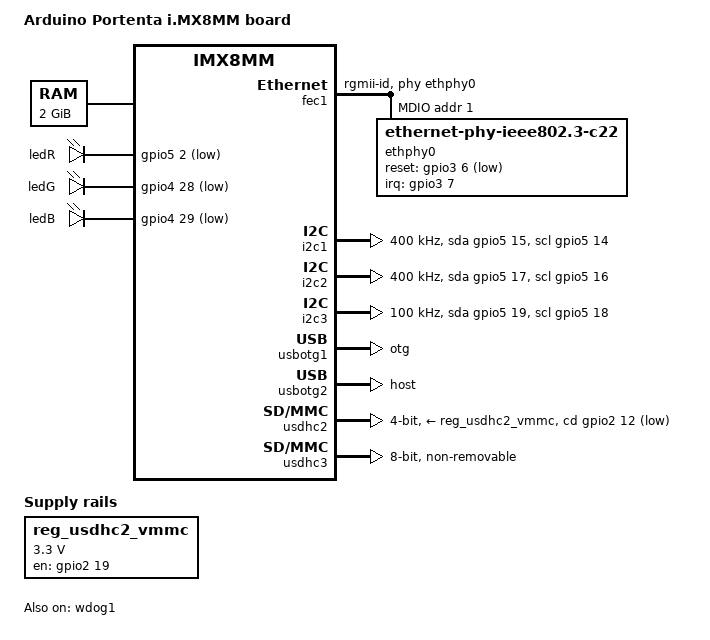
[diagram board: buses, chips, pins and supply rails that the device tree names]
/**
 * Copyright 2020
 *
 * This program is free software; you can redistribute it and/or
 * modify it under the terms of the GNU General Public License
 * as published by the Free Software Foundation; either version 2
 * of the License, or (at your option) any later version.
 *
 * This program is distributed in the hope that it will be useful,
 * but WITHOUT ANY WARRANTY; without even the implied warranty of
 * MERCHANTABILITY or FITNESS FOR A PARTICULAR PURPOSE.  See the
 * GNU General Public License for more details.
 */

/dts-v1/;

#include "imx8mm.dtsi"

/ {
	model = "Arduino Portenta i.MX8MM board";
	compatible = "fsl,imx8mm-evk", "fsl,imx8mm";

	memory@40000000 {
		device_type = "memory";
		reg = <0x0 0x40000000 0 0x80000000>;
	};

	leds {
		compatible = "gpio-leds";
		pinctrl-names = "default";
		pinctrl-0 = <&pinctrl_gpio_led>;

		ledR {
			label = "ledR";
			gpios = <&gpio5 2 GPIO_ACTIVE_LOW>;
			default-state = "off";
		};

		ledG {
			label = "ledG";
			gpios = <&gpio4 28 GPIO_ACTIVE_LOW>;
			default-state = "off";
		};

		ledB {
			label = "ledB";
			gpios = <&gpio4 29 GPIO_ACTIVE_LOW>;
			linux,default-trigger = "heartbeat";
			default-state = "off";
		};
	};

	reg_usdhc2_vmmc: regulator-usdhc2 {
		compatible = "regulator-fixed";
		pinctrl-names = "default";
		pinctrl-0 = <&pinctrl_reg_usdhc2_vmmc>;
		regulator-name = "VSD_3V3";
		regulator-min-microvolt = <3300000>;
		regulator-max-microvolt = <3300000>;
		gpio = <&gpio2 19 GPIO_ACTIVE_HIGH>;
		off-on-delay-us = <20000>;
		enable-active-high;
	};
};

&A53_0 {
	cpu-supply = <&buck2_reg>;
};

&A53_1 {
	cpu-supply = <&buck2_reg>;
};

&A53_2 {
	cpu-supply = <&buck2_reg>;
};

&A53_3 {
	cpu-supply = <&buck2_reg>;
};

&ddrc {
	operating-points-v2 = <&ddrc_opp_table>;

	ddrc_opp_table: opp-table {
		compatible = "operating-points-v2";

		opp-25M {
			opp-hz = /bits/ 64 <25000000>;
		};

		opp-100M {
			opp-hz = /bits/ 64 <100000000>;
		};

		opp-750M {
			opp-hz = /bits/ 64 <750000000>;
		};
	};
};

&fec1 {
	pinctrl-names = "default";
	pinctrl-0 = <&pinctrl_fec1>;
	phy-mode = "rgmii-id";
	phy-handle = <&ethphy0>;
	fsl,magic-packet;
	status = "okay";

	mdio {
		#address-cells = <1>;
		#size-cells = <0>;

		ethphy0: ethernet-phy@0 {
			compatible = "ethernet-phy-ieee802.3-c22";
			reg = <1>;
			interrupt-parent = <&gpio3>;
			interrupts = <7 0>;
			reset-gpios = <&gpio3 6 GPIO_ACTIVE_LOW>;
			reset-assert-us = <100000>;
		};
	};
};

&i2c1 {
	clock-frequency = <400000>;
	pinctrl-names = "default", "gpio";
	pinctrl-0 = <&pinctrl_i2c1>;
	pinctrl-1 = <&pinctrl_i2c1_gpio>;
	scl-gpios = <&gpio5 14 GPIO_ACTIVE_HIGH>;
	sda-gpios = <&gpio5 15 GPIO_ACTIVE_HIGH>;
	status = "okay";
};

&i2c2 {
	clock-frequency = <400000>;
	pinctrl-names = "default", "gpio";
	pinctrl-0 = <&pinctrl_i2c2>;
	pinctrl-1 = <&pinctrl_i2c2_gpio>;
	scl-gpios = <&gpio5 16 GPIO_ACTIVE_HIGH>;
	sda-gpios = <&gpio5 17 GPIO_ACTIVE_HIGH>;
	status = "okay";
};

&i2c3 {
	clock-frequency = <100000>;
	pinctrl-names = "default", "gpio";
	pinctrl-0 = <&pinctrl_i2c3>;
	pinctrl-1 = <&pinctrl_i2c3_gpio>;
	scl-gpios = <&gpio5 18 GPIO_ACTIVE_HIGH>;
	sda-gpios = <&gpio5 19 GPIO_ACTIVE_HIGH>;
	status = "okay";
};

&usbotg1 {
	dr_mode = "otg";
	hnp-disable;
	srp-disable;
	adp-disable;
	usb-role-switch;
	disable-over-current;
	samsung,picophy-pre-emp-curr-control = <3>;
	samsung,picophy-dc-vol-level-adjust = <7>;
	status = "okay";
};

&usbotg2 {
	dr_mode = "host";
	disable-over-current;
	samsung,picophy-pre-emp-curr-control = <3>;
	samsung,picophy-dc-vol-level-adjust = <7>;
	status = "okay";
};

&usdhc2 {
	assigned-clocks = <&clk IMX8MM_CLK_USDHC2>;
	assigned-clock-rates = <200000000>;
	pinctrl-names = "default", "state_100mhz", "state_200mhz";
	pinctrl-0 = <&pinctrl_usdhc2>, <&pinctrl_usdhc2_gpio>;
	pinctrl-1 = <&pinctrl_usdhc2_100mhz>, <&pinctrl_usdhc2_gpio>;
	pinctrl-2 = <&pinctrl_usdhc2_200mhz>, <&pinctrl_usdhc2_gpio>;
	cd-gpios = <&gpio2 12 GPIO_ACTIVE_LOW>;
	bus-width = <4>;
	vmmc-supply = <&reg_usdhc2_vmmc>;
	status = "okay";
};

&usdhc3 {
	assigned-clocks = <&clk IMX8MM_CLK_USDHC3_ROOT>;
	/* TODO: lowered speed here from 400000000 */
	assigned-clock-rates = <200000000>;
	pinctrl-names = "default", "state_100mhz", "state_200mhz";
	pinctrl-0 = <&pinctrl_usdhc3>;
	pinctrl-1 = <&pinctrl_usdhc3_100mhz>;
	pinctrl-2 = <&pinctrl_usdhc3_200mhz>;
	bus-width = <8>;
	non-removable;
	status = "okay";
};

&wdog1 {
	pinctrl-names = "default";
	pinctrl-0 = <&pinctrl_wdog>;
	fsl,ext-reset-output;
	status = "okay";
};

&iomuxc {
	pinctrl-names = "default";
	pinctrl-0 = <&pinctrl_hog_1>;

	pinctrl_fec1: fec1grp {
		fsl,pins = <
			MX8MM_IOMUXC_ENET_MDC_ENET1_MDC			0x3
			MX8MM_IOMUXC_ENET_MDIO_ENET1_MDIO		0x3
			MX8MM_IOMUXC_ENET_TD3_ENET1_RGMII_TD3		0x1f
			MX8MM_IOMUXC_ENET_TD2_ENET1_RGMII_TD2		0x1f
			MX8MM_IOMUXC_ENET_TD1_ENET1_RGMII_TD1		0x1f
			MX8MM_IOMUXC_ENET_TD0_ENET1_RGMII_TD0		0x1f
			MX8MM_IOMUXC_ENET_RD3_ENET1_RGMII_RD3		0x91
			MX8MM_IOMUXC_ENET_RD2_ENET1_RGMII_RD2		0x91
			MX8MM_IOMUXC_ENET_RD1_ENET1_RGMII_RD1		0x91
			MX8MM_IOMUXC_ENET_RD0_ENET1_RGMII_RD0		0x91
			MX8MM_IOMUXC_ENET_TXC_ENET1_RGMII_TXC		0x1f
			MX8MM_IOMUXC_ENET_RXC_ENET1_RGMII_RXC		0x91
			MX8MM_IOMUXC_ENET_RX_CTL_ENET1_RGMII_RX_CTL	0x91
			MX8MM_IOMUXC_ENET_TX_CTL_ENET1_RGMII_TX_CTL	0x1f
			MX8MM_IOMUXC_NAND_DATA00_GPIO3_IO6		0x16
			MX8MM_IOMUXC_NAND_DATA01_GPIO3_IO7		0x41
		>;
	};

	pinctrl_i2c1: i2c1grp {
		fsl,pins = <
			MX8MM_IOMUXC_I2C1_SCL_I2C1_SCL			0x400001c3
			MX8MM_IOMUXC_I2C1_SDA_I2C1_SDA			0x400001c3
		>;
		};

	pinctrl_i2c2: i2c2grp {
		fsl,pins = <
			MX8MM_IOMUXC_I2C2_SCL_I2C2_SCL			0x400001c3
			MX8MM_IOMUXC_I2C2_SDA_I2C2_SDA			0x400001c3
		>;
	};

	pinctrl_i2c3: i2c3grp {
		fsl,pins = <
			MX8MM_IOMUXC_I2C3_SCL_I2C3_SCL			0x400001c3
			MX8MM_IOMUXC_I2C3_SDA_I2C3_SDA			0x400001c3
		>;
	};

	pinctrl_i2c1_gpio: i2c1grp-gpio {
		fsl,pins = <
			MX8MM_IOMUXC_I2C1_SCL_GPIO5_IO14		0x1c3
			MX8MM_IOMUXC_I2C1_SDA_GPIO5_IO15		0x1c3
		>;
	};

	pinctrl_i2c2_gpio: i2c2grp-gpio {
		fsl,pins = <
			MX8MM_IOMUXC_I2C2_SCL_GPIO5_IO16		0x1c3
			MX8MM_IOMUXC_I2C2_SDA_GPIO5_IO17		0x1c3
		>;
	};

	pinctrl_i2c3_gpio: i2c3grp-gpio {
		fsl,pins = <
			MX8MM_IOMUXC_I2C3_SCL_GPIO5_IO18		0x1c3
			MX8MM_IOMUXC_I2C3_SDA_GPIO5_IO19		0x1c3
		>;
	};

	pinctrl_reg_usdhc2_vmmc: regusdhc2vmmc {
		fsl,pins = <
			MX8MM_IOMUXC_SD2_RESET_B_GPIO2_IO19		0x41
		>;
	};

	pinctrl_usdhc2_gpio: usdhc2grpgpio {
		fsl,pins = <
			MX8MM_IOMUXC_SD2_CD_B_GPIO2_IO12		0x1c4
		>;
	};

	pinctrl_usdhc2: usdhc2grp {
		fsl,pins = <
			MX8MM_IOMUXC_SD2_CLK_USDHC2_CLK			0x190
			MX8MM_IOMUXC_SD2_CMD_USDHC2_CMD			0x1d0
			MX8MM_IOMUXC_SD2_DATA0_USDHC2_DATA0		0x1d0
			MX8MM_IOMUXC_SD2_DATA1_USDHC2_DATA1		0x1d0
			MX8MM_IOMUXC_SD2_DATA2_USDHC2_DATA2		0x1d0
			MX8MM_IOMUXC_SD2_DATA3_USDHC2_DATA3		0x1d0
			MX8MM_IOMUXC_GPIO1_IO04_USDHC2_VSELECT		0x1d0
		>;
	};

	pinctrl_usdhc2_100mhz: usdhc2grp100mhz {
		fsl,pins = <
			MX8MM_IOMUXC_SD2_CLK_USDHC2_CLK			0x194
			MX8MM_IOMUXC_SD2_CMD_USDHC2_CMD			0x1d4
			MX8MM_IOMUXC_SD2_DATA0_USDHC2_DATA0		0x1d4
			MX8MM_IOMUXC_SD2_DATA1_USDHC2_DATA1		0x1d4
			MX8MM_IOMUXC_SD2_DATA2_USDHC2_DATA2		0x1d4
			MX8MM_IOMUXC_SD2_DATA3_USDHC2_DATA3		0x1d4
			MX8MM_IOMUXC_GPIO1_IO04_USDHC2_VSELECT		0x1d0
		>;
	};

	pinctrl_usdhc2_200mhz: usdhc2grp200mhz {
		fsl,pins = <
			MX8MM_IOMUXC_SD2_CLK_USDHC2_CLK			0x196
			MX8MM_IOMUXC_SD2_CMD_USDHC2_CMD			0x1d6
			MX8MM_IOMUXC_SD2_DATA0_USDHC2_DATA0		0x1d6
			MX8MM_IOMUXC_SD2_DATA1_USDHC2_DATA1		0x1d6
			MX8MM_IOMUXC_SD2_DATA2_USDHC2_DATA2		0x1d6
			MX8MM_IOMUXC_SD2_DATA3_USDHC2_DATA3		0x1d6
			MX8MM_IOMUXC_GPIO1_IO04_USDHC2_VSELECT		0x1d0
		>;
	};

	pinctrl_usdhc3: usdhc3grp {
		fsl,pins = <
			MX8MM_IOMUXC_NAND_WE_B_USDHC3_CLK		0x190
			MX8MM_IOMUXC_NAND_WP_B_USDHC3_CMD		0x1d0
			MX8MM_IOMUXC_NAND_DATA04_USDHC3_DATA0		0x1d0
			MX8MM_IOMUXC_NAND_DATA05_USDHC3_DATA1		0x1d0
			MX8MM_IOMUXC_NAND_DATA06_USDHC3_DATA2		0x1d0
			MX8MM_IOMUXC_NAND_DATA07_USDHC3_DATA3		0x1d0
			MX8MM_IOMUXC_NAND_RE_B_USDHC3_DATA4		0x1d0
			MX8MM_IOMUXC_NAND_CE2_B_USDHC3_DATA5		0x1d0
			MX8MM_IOMUXC_NAND_CE3_B_USDHC3_DATA6		0x1d0
			MX8MM_IOMUXC_NAND_CLE_USDHC3_DATA7		0x1d0
			MX8MM_IOMUXC_NAND_CE1_B_USDHC3_STROBE		0x190
		>;
	};

	pinctrl_usdhc3_100mhz: usdhc3grp100mhz {
		fsl,pins = <
			MX8MM_IOMUXC_NAND_WE_B_USDHC3_CLK		0x194
			MX8MM_IOMUXC_NAND_WP_B_USDHC3_CMD		0x1d4
			MX8MM_IOMUXC_NAND_DATA04_USDHC3_DATA0		0x1d4
			MX8MM_IOMUXC_NAND_DATA05_USDHC3_DATA1		0x1d4
			MX8MM_IOMUXC_NAND_DATA06_USDHC3_DATA2		0x1d4
			MX8MM_IOMUXC_NAND_DATA07_USDHC3_DATA3		0x1d4
			MX8MM_IOMUXC_NAND_RE_B_USDHC3_DATA4		0x1d4
			MX8MM_IOMUXC_NAND_CE2_B_USDHC3_DATA5		0x1d4
			MX8MM_IOMUXC_NAND_CE3_B_USDHC3_DATA6		0x1d4
			MX8MM_IOMUXC_NAND_CLE_USDHC3_DATA7		0x1d4
			MX8MM_IOMUXC_NAND_CE1_B_USDHC3_STROBE		0x194
		>;
	};

	pinctrl_usdhc3_200mhz: usdhc3grp200mhz {
		fsl,pins = <
			MX8MM_IOMUXC_NAND_WE_B_USDHC3_CLK		0x196
			MX8MM_IOMUXC_NAND_WP_B_USDHC3_CMD		0x1d6
			MX8MM_IOMUXC_NAND_DATA04_USDHC3_DATA0		0x1d6
			MX8MM_IOMUXC_NAND_DATA05_USDHC3_DATA1		0x1d6
			MX8MM_IOMUXC_NAND_DATA06_USDHC3_DATA2		0x1d6
			MX8MM_IOMUXC_NAND_DATA07_USDHC3_DATA3		0x1d6
			MX8MM_IOMUXC_NAND_RE_B_USDHC3_DATA4		0x1d6
			MX8MM_IOMUXC_NAND_CE2_B_USDHC3_DATA5		0x1d6
			MX8MM_IOMUXC_NAND_CE3_B_USDHC3_DATA6		0x1d6
			MX8MM_IOMUXC_NAND_CLE_USDHC3_DATA7		0x1d6
			MX8MM_IOMUXC_NAND_CE1_B_USDHC3_STROBE		0x196
		>;
	};

	pinctrl_wdog: wdoggrp {
		fsl,pins = <
			MX8MM_IOMUXC_GPIO1_IO02_WDOG1_WDOG_B		0xc6
		>;
	};
};
